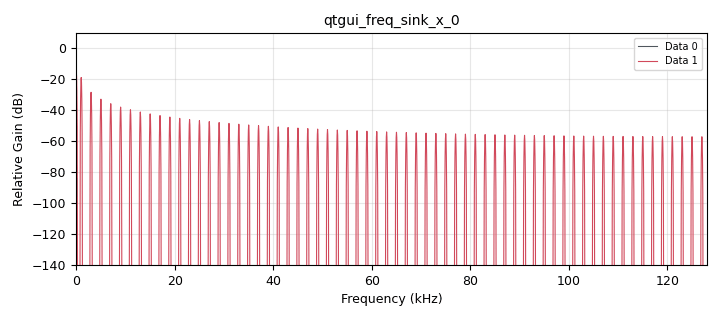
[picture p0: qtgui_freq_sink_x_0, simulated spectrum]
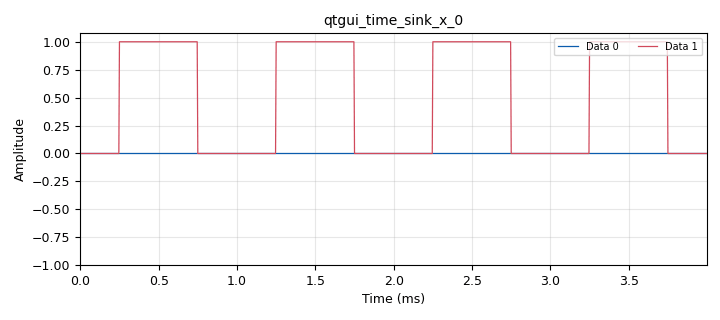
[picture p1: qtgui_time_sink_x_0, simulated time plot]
<?xml version='1.0' encoding='utf-8'?>
<?grc format='1' created='3.7.13'?>
<flow_graph>
<block>
<key>options</key>
<param><key>id</key><value>top_block</value></param>
<param><key>generate_options</key><value>qt_gui</value></param>
</block>
<block>
<key>variable</key>
<param><key>id</key><value>f</value></param>
<param><key>value</key><value>1e3</value></param>
</block>
<block>
<key>variable</key>
<param><key>id</key><value>samp_rate</value></param>
<param><key>value</key><value>256e3</value></param>
</block>
<block>
<key>variable_qtgui_check_box</key>
<param><key>id</key><value>variable_qtgui_check_box_0</value></param>
<param><key>value</key><value>0</value></param>
<param><key>false</key><value>0</value></param>
<param><key>gui_hint</key><value>[0, 0]</value></param>
<param><key>label</key><value>f</value></param>
<param><key>true</key><value>1</value></param>
<param><key>type</key><value>int</value></param>
</block>
<block>
<key>variable_qtgui_check_box</key>
<param><key>id</key><value>variable_qtgui_check_box_1</value></param>
<param><key>value</key><value>0</value></param>
<param><key>false</key><value>0</value></param>
<param><key>gui_hint</key><value>[0, 1]</value></param>
<param><key>label</key><value>3xf</value></param>
<param><key>true</key><value>1</value></param>
<param><key>type</key><value>int</value></param>
</block>
<block>
<key>variable_qtgui_check_box</key>
<param><key>id</key><value>variable_qtgui_check_box_2</value></param>
<param><key>value</key><value>0</value></param>
<param><key>false</key><value>0</value></param>
<param><key>gui_hint</key><value>[0, 2]</value></param>
<param><key>label</key><value>5xf</value></param>
<param><key>true</key><value>1</value></param>
<param><key>type</key><value>int</value></param>
</block>
<block>
<key>variable_qtgui_check_box</key>
<param><key>id</key><value>variable_qtgui_check_box_3</value></param>
<param><key>value</key><value>0</value></param>
<param><key>false</key><value>0</value></param>
<param><key>gui_hint</key><value>[0,3]</value></param>
<param><key>label</key><value>7xf</value></param>
<param><key>true</key><value>1</value></param>
<param><key>type</key><value>int</value></param>
</block>
<block>
<key>variable_qtgui_check_box</key>
<param><key>id</key><value>variable_qtgui_check_box_4</value></param>
<param><key>value</key><value>0</value></param>
<param><key>false</key><value>0</value></param>
<param><key>gui_hint</key><value>[0, 4]</value></param>
<param><key>label</key><value>9xf</value></param>
<param><key>true</key><value>1</value></param>
<param><key>type</key><value>int</value></param>
</block>
<block>
<key>variable_qtgui_check_box</key>
<param><key>id</key><value>variable_qtgui_check_box_5</value></param>
<param><key>value</key><value>0</value></param>
<param><key>false</key><value>0</value></param>
<param><key>gui_hint</key><value>[0, 5]</value></param>
<param><key>label</key><value>11xf</value></param>
<param><key>true</key><value>1</value></param>
<param><key>type</key><value>int</value></param>
</block>
<block>
<key>variable_qtgui_check_box</key>
<param><key>id</key><value>variable_qtgui_check_box_6</value></param>
<param><key>value</key><value>0</value></param>
<param><key>false</key><value>0</value></param>
<param><key>gui_hint</key><value>[0, 6]</value></param>
<param><key>label</key><value>13xf</value></param>
<param><key>true</key><value>1</value></param>
<param><key>type</key><value>int</value></param>
</block>
<block>
<key>analog_sig_source_x</key>
<param><key>id</key><value>analog_sig_source_x_0</value></param>
<param><key>amp</key><value>1</value></param>
<param><key>freq</key><value>f</value></param>
<param><key>offset</key><value>0</value></param>
<param><key>type</key><value>float</value></param>
<param><key>samp_rate</key><value>samp_rate</value></param>
<param><key>waveform</key><value>analog.GR_SIN_WAVE</value></param>
</block>
<block>
<key>analog_sig_source_x</key>
<param><key>id</key><value>analog_sig_source_x_0_0</value></param>
<param><key>amp</key><value>1</value></param>
<param><key>freq</key><value>3*f</value></param>
<param><key>offset</key><value>0</value></param>
<param><key>type</key><value>float</value></param>
<param><key>samp_rate</key><value>samp_rate</value></param>
<param><key>waveform</key><value>analog.GR_SIN_WAVE</value></param>
</block>
<block>
<key>analog_sig_source_x</key>
<param><key>id</key><value>analog_sig_source_x_0_1</value></param>
<param><key>amp</key><value>1</value></param>
<param><key>freq</key><value>5*f</value></param>
<param><key>offset</key><value>0</value></param>
<param><key>type</key><value>float</value></param>
<param><key>samp_rate</key><value>samp_rate</value></param>
<param><key>waveform</key><value>analog.GR_SIN_WAVE</value></param>
</block>
<block>
<key>analog_sig_source_x</key>
<param><key>id</key><value>analog_sig_source_x_0_2</value></param>
<param><key>amp</key><value>1</value></param>
<param><key>freq</key><value>7*f</value></param>
<param><key>offset</key><value>0</value></param>
<param><key>type</key><value>float</value></param>
<param><key>samp_rate</key><value>samp_rate</value></param>
<param><key>waveform</key><value>analog.GR_SIN_WAVE</value></param>
</block>
<block>
<key>analog_sig_source_x</key>
<param><key>id</key><value>analog_sig_source_x_0_3</value></param>
<param><key>amp</key><value>1</value></param>
<param><key>freq</key><value>9*f</value></param>
<param><key>offset</key><value>0</value></param>
<param><key>type</key><value>float</value></param>
<param><key>samp_rate</key><value>samp_rate</value></param>
<param><key>waveform</key><value>analog.GR_SIN_WAVE</value></param>
</block>
<block>
<key>analog_sig_source_x</key>
<param><key>id</key><value>analog_sig_source_x_0_3_0</value></param>
<param><key>amp</key><value>1</value></param>
<param><key>freq</key><value>11*f</value></param>
<param><key>offset</key><value>0</value></param>
<param><key>type</key><value>float</value></param>
<param><key>samp_rate</key><value>samp_rate</value></param>
<param><key>waveform</key><value>analog.GR_SIN_WAVE</value></param>
</block>
<block>
<key>analog_sig_source_x</key>
<param><key>id</key><value>analog_sig_source_x_0_3_1</value></param>
<param><key>amp</key><value>1</value></param>
<param><key>freq</key><value>13*f</value></param>
<param><key>offset</key><value>0</value></param>
<param><key>type</key><value>float</value></param>
<param><key>samp_rate</key><value>samp_rate</value></param>
<param><key>waveform</key><value>analog.GR_SIN_WAVE</value></param>
</block>
<block>
<key>analog_sig_source_x</key>
<param><key>id</key><value>analog_sig_source_x_0_3_1_0</value></param>
<param><key>amp</key><value>1</value></param>
<param><key>freq</key><value>f</value></param>
<param><key>offset</key><value>0</value></param>
<param><key>type</key><value>float</value></param>
<param><key>samp_rate</key><value>samp_rate</value></param>
<param><key>waveform</key><value>analog.GR_SQR_WAVE</value></param>
</block>
<block>
<key>blocks_add_xx</key>
<param><key>id</key><value>blocks_add_xx_0</value></param>
<param><key>type</key><value>float</value></param>
<param><key>num_inputs</key><value>7</value></param>
</block>
<block>
<key>blocks_multiply_const_vxx</key>
<param><key>id</key><value>blocks_multiply_const_vxx_0</value></param>
<param><key>const</key><value>variable_qtgui_check_box_0</value></param>
<param><key>type</key><value>float</value></param>
</block>
<block>
<key>blocks_multiply_const_vxx</key>
<param><key>id</key><value>blocks_multiply_const_vxx_0_0</value></param>
<param><key>const</key><value>variable_qtgui_check_box_1 * (1.0/3.0)</value></param>
<param><key>type</key><value>float</value></param>
</block>
<block>
<key>blocks_multiply_const_vxx</key>
<param><key>id</key><value>blocks_multiply_const_vxx_0_1</value></param>
<param><key>const</key><value>variable_qtgui_check_box_2 * (1.0/5.0)</value></param>
<param><key>type</key><value>float</value></param>
</block>
<block>
<key>blocks_multiply_const_vxx</key>
<param><key>id</key><value>blocks_multiply_const_vxx_0_2</value></param>
<param><key>const</key><value>variable_qtgui_check_box_3* (1.0/7.0)</value></param>
<param><key>type</key><value>float</value></param>
</block>
<block>
<key>blocks_multiply_const_vxx</key>
<param><key>id</key><value>blocks_multiply_const_vxx_0_3</value></param>
<param><key>const</key><value>variable_qtgui_check_box_4* (1.0/9.0)</value></param>
<param><key>type</key><value>float</value></param>
</block>
<block>
<key>blocks_multiply_const_vxx</key>
<param><key>id</key><value>blocks_multiply_const_vxx_0_3_0</value></param>
<param><key>const</key><value>variable_qtgui_check_box_5* (1.0/11.0)</value></param>
<param><key>type</key><value>float</value></param>
</block>
<block>
<key>blocks_multiply_const_vxx</key>
<param><key>id</key><value>blocks_multiply_const_vxx_0_3_1</value></param>
<param><key>const</key><value>variable_qtgui_check_box_6* (1.0/13.0)</value></param>
<param><key>type</key><value>float</value></param>
</block>
<block>
<key>blocks_throttle</key>
<param><key>id</key><value>blocks_throttle_0</value></param>
<param><key>samples_per_second</key><value>samp_rate</value></param>
<param><key>type</key><value>float</value></param>
</block>
<block>
<key>qtgui_freq_sink_x</key>
<param><key>id</key><value>qtgui_freq_sink_x_0</value></param>
<param><key>bw</key><value>samp_rate</value></param>
<param><key>fc</key><value>0</value></param>
<param><key>ctrlpanel</key><value>True</value></param>
<param><key>fftsize</key><value>4096</value></param>
<param><key>gui_hint</key><value>[1, 5, 1, 4]</value></param>
<param><key>label2</key><value></value></param>
<param><key>nconnections</key><value>2</value></param>
<param><key>showports</key><value>True</value></param>
<param><key>freqhalf</key><value>False</value></param>
<param><key>type</key><value>float</value></param>
<param><key>wintype</key><value>firdes.WIN_BLACKMAN_hARRIS</value></param>
</block>
<block>
<key>qtgui_time_sink_x</key>
<param><key>id</key><value>qtgui_time_sink_x_0</value></param>
<param><key>gui_hint</key><value>[1, 0, 1, 4]</value></param>
<param><key>color1</key><value>"blue"</value></param>
<param><key>label1</key><value></value></param>
<param><key>color2</key><value>"red"</value></param>
<param><key>label2</key><value></value></param>
<param><key>nconnections</key><value>2</value></param>
<param><key>size</key><value>1024</value></param>
<param><key>srate</key><value>samp_rate</value></param>
<param><key>type</key><value>float</value></param>
</block>
<connection><source_block_id>analog_sig_source_x_0</source_block_id><sink_block_id>blocks_multiply_const_vxx_0</sink_block_id><source_key>0</source_key><sink_key>0</sink_key></connection>
<connection><source_block_id>analog_sig_source_x_0_0</source_block_id><sink_block_id>blocks_multiply_const_vxx_0_0</sink_block_id><source_key>0</source_key><sink_key>0</sink_key></connection>
<connection><source_block_id>analog_sig_source_x_0_1</source_block_id><sink_block_id>blocks_multiply_const_vxx_0_1</sink_block_id><source_key>0</source_key><sink_key>0</sink_key></connection>
<connection><source_block_id>analog_sig_source_x_0_2</source_block_id><sink_block_id>blocks_multiply_const_vxx_0_2</sink_block_id><source_key>0</source_key><sink_key>0</sink_key></connection>
<connection><source_block_id>analog_sig_source_x_0_3</source_block_id><sink_block_id>blocks_multiply_const_vxx_0_3</sink_block_id><source_key>0</source_key><sink_key>0</sink_key></connection>
<connection><source_block_id>analog_sig_source_x_0_3_0</source_block_id><sink_block_id>blocks_multiply_const_vxx_0_3_0</sink_block_id><source_key>0</source_key><sink_key>0</sink_key></connection>
<connection><source_block_id>analog_sig_source_x_0_3_1</source_block_id><sink_block_id>blocks_multiply_const_vxx_0_3_1</sink_block_id><source_key>0</source_key><sink_key>0</sink_key></connection>
<connection><source_block_id>analog_sig_source_x_0_3_1_0</source_block_id><sink_block_id>qtgui_freq_sink_x_0</sink_block_id><source_key>0</source_key><sink_key>1</sink_key></connection>
<connection><source_block_id>analog_sig_source_x_0_3_1_0</source_block_id><sink_block_id>qtgui_time_sink_x_0</sink_block_id><source_key>0</source_key><sink_key>1</sink_key></connection>
<connection><source_block_id>blocks_add_xx_0</source_block_id><sink_block_id>blocks_throttle_0</sink_block_id><source_key>0</source_key><sink_key>0</sink_key></connection>
<connection><source_block_id>blocks_multiply_const_vxx_0</source_block_id><sink_block_id>blocks_add_xx_0</sink_block_id><source_key>0</source_key><sink_key>0</sink_key></connection>
<connection><source_block_id>blocks_multiply_const_vxx_0_0</source_block_id><sink_block_id>blocks_add_xx_0</sink_block_id><source_key>0</source_key><sink_key>1</sink_key></connection>
<connection><source_block_id>blocks_multiply_const_vxx_0_1</source_block_id><sink_block_id>blocks_add_xx_0</sink_block_id><source_key>0</source_key><sink_key>2</sink_key></connection>
<connection><source_block_id>blocks_multiply_const_vxx_0_2</source_block_id><sink_block_id>blocks_add_xx_0</sink_block_id><source_key>0</source_key><sink_key>3</sink_key></connection>
<connection><source_block_id>blocks_multiply_const_vxx_0_3</source_block_id><sink_block_id>blocks_add_xx_0</sink_block_id><source_key>0</source_key><sink_key>4</sink_key></connection>
<connection><source_block_id>blocks_multiply_const_vxx_0_3_0</source_block_id><sink_block_id>blocks_add_xx_0</sink_block_id><source_key>0</source_key><sink_key>5</sink_key></connection>
<connection><source_block_id>blocks_multiply_const_vxx_0_3_1</source_block_id><sink_block_id>blocks_add_xx_0</sink_block_id><source_key>0</source_key><sink_key>6</sink_key></connection>
<connection><source_block_id>blocks_throttle_0</source_block_id><sink_block_id>qtgui_freq_sink_x_0</sink_block_id><source_key>0</source_key><sink_key>0</sink_key></connection>
<connection><source_block_id>blocks_throttle_0</source_block_id><sink_block_id>qtgui_time_sink_x_0</sink_block_id><source_key>0</source_key><sink_key>0</sink_key></connection>
</flow_graph>
